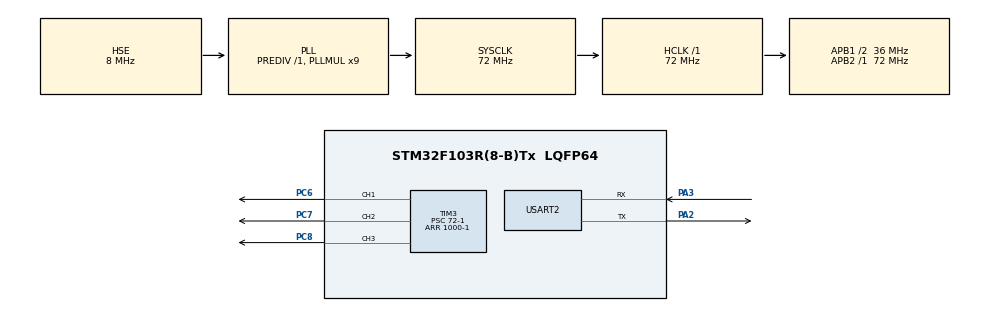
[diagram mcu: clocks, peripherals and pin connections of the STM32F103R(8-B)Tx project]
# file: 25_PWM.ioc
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Mcu.Family=STM32F1
Mcu.Name=STM32F103R(8-B)Tx
Mcu.Package=LQFP64
NVIC.PriorityGroup=NVIC_PRIORITYGROUP_4
PA2.Mode=Asynchronous
PA2.Signal=USART2_TX
PA3.Mode=Asynchronous
PA3.Signal=USART2_RX
PC14-OSC32_IN.Mode=LSE-External-Oscillator
PC14-OSC32_IN.Signal=RCC_OSC32_IN
PC15-OSC32_OUT.Mode=LSE-External-Oscillator
PC15-OSC32_OUT.Signal=RCC_OSC32_OUT
PC6.Signal=S_TIM3_CH1
PC7.Signal=S_TIM3_CH2
PC8.Signal=S_TIM3_CH3
PD0-OSC_IN.Mode=HSE-External-Clock-Source
PD0-OSC_IN.Signal=RCC_OSC_IN
PD1-OSC_OUT.Mode=HSE-External-Clock-Source
PD1-OSC_OUT.Signal=RCC_OSC_OUT
ProjectManager.HeapSize=0x200
ProjectManager.StackSize=0x400
ProjectManager.TargetToolchain=STM32CubeIDE
RCC.AHBFreq_Value=72000000
RCC.APB1CLKDivider=RCC_HCLK_DIV2
RCC.APB1Freq_Value=36000000
RCC.APB1TimFreq_Value=72000000
RCC.APB2Freq_Value=72000000
RCC.APB2TimFreq_Value=72000000
RCC.HCLKFreq_Value=72000000
RCC.PLLMUL=RCC_PLL_MUL9
RCC.PLLSourceVirtual=RCC_PLLSOURCE_HSE
RCC.SYSCLKFreq_VALUE=72000000
RCC.SYSCLKSource=RCC_SYSCLKSOURCE_PLLCLK
RCC.USBFreq_Value=72000000
SH.S_TIM3_CH1.0=TIM3_CH1,PWM Generation1 CH1
SH.S_TIM3_CH2.0=TIM3_CH2,PWM Generation2 CH2
SH.S_TIM3_CH3.0=TIM3_CH3,PWM Generation3 CH3
TIM3.AutoReloadPreload=TIM_AUTORELOAD_PRELOAD_ENABLE
TIM3.Channel-PWM\ Generation1\ CH1=TIM_CHANNEL_1
TIM3.Channel-PWM\ Generation2\ CH2=TIM_CHANNEL_2
TIM3.Channel-PWM\ Generation3\ CH3=TIM_CHANNEL_3
TIM3.Period=1000-1
TIM3.Prescaler=72-1
TIM3.Pulse-PWM\ Generation1\ CH1=500
USART2.VirtualMode=VM_ASYNC
VP_TIM3_VS_ClockSourceINT.Mode=Internal
board=custom

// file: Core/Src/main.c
/* USER CODE BEGIN Header */
/**
  ******************************************************************************
  * @file           : main.c
  * @brief          : Main program body
  ******************************************************************************
  * @attention
  *
  * Copyright (c) 2023 STMicroelectronics.
  * All rights reserved.
  *
  * This software is licensed under terms that can be found in the LICENSE file
  * in the root directory of this software component.
  * If no LICENSE file comes with this software, it is provided AS-IS.
  *
  ******************************************************************************
  */
/* USER CODE END Header */
#include "main.h"

/* USER CODE BEGIN Includes */
#include <stdio.h>
/* USER CODE END Includes */

TIM_HandleTypeDef htim3;

UART_HandleTypeDef huart2;

/* USER CODE BEGIN PV */
uint16_t input_arr, input_ccr1;
/* USER CODE END PV */

void SystemClock_Config(void);
static void MX_GPIO_Init(void);
static void MX_TIM3_Init(void);
static void MX_USART2_UART_Init(void);

/* USER CODE BEGIN 0 */
int __io_putchar(int ch) {
	   HAL_UART_Transmit(&huart2, (uint8_t *)&ch, 1, 1000);
	   if (ch == '\n') {
	      HAL_UART_Transmit(&huart2, (uint8_t *)"\r", 1, 1000);
	   }
	   return ch;
	}

int __io_getchar(void) {
   uint8_t ch = 0;
   __HAL_UART_CLEAR_OREFLAG(&huart2);
   HAL_UART_Receive(&huart2, (uint8_t *)&ch, 1, 0xFFFF);
   HAL_UART_Transmit(&huart2, (uint8_t *)&ch, 1, 1000);
   return ch;
}

/* USER CODE END 0 */

int main(void)
{

  /* MCU Configuration--------------------------------------------------------*/

  /* Reset of all peripherals, Initializes the Flash interface and the Systick. */
  HAL_Init();

  /* Configure the system clock */
  SystemClock_Config();

  /* Initialize all configured peripherals */
  MX_GPIO_Init();
  MX_TIM3_Init();
  MX_USART2_UART_Init();
  /* USER CODE BEGIN 2 */
  HAL_TIM_PWM_Start(&htim3, TIM_CHANNEL_1);
  setvbuf(stdin, NULL, _IONBF, 0); //버퍼링하는 정책 사용 금지

  /* USER CODE END 2 */

  /* Infinite loop */
  /* USER CODE BEGIN WHILE */
  while (1)
  {
#if 0
	  for(int i = 0; i < 1000; i+=10){
		  __HAL_TIM_SET_COMPARE(&htim3, TIM_CHANNEL_1, i);
		  HAL_Delay(100);
	  }

	  for(int j = 1000; j > 0; j-=10){
		  __HAL_TIM_SET_COMPARE(&htim3, TIM_CHANNEL_1, j);
		  HAL_Delay(100);
	  }
#endif

#if 1
	  printf("ARR & CCR1 VALUE = ");
	  scanf("%d %d", &input_arr, &input_ccr1);
	  printf("\n\n");
	  __HAL_TIM_SET_AUTORELOAD(&htim3, input_arr);
	  __HAL_TIM_SET_COMPARE(&htim3, TIM_CHANNEL_1, input_ccr1);
#endif
    /* USER CODE END WHILE */

  }
}

void SystemClock_Config(void)
{
  RCC_OscInitTypeDef RCC_OscInitStruct = {0};
  RCC_ClkInitTypeDef RCC_ClkInitStruct = {0};

  /** Initializes the RCC Oscillators according to the specified parameters
  * in the RCC_OscInitTypeDef structure.
  */
  RCC_OscInitStruct.OscillatorType = RCC_OSCILLATORTYPE_HSE;
  RCC_OscInitStruct.HSEState = RCC_HSE_BYPASS;
  RCC_OscInitStruct.HSEPredivValue = RCC_HSE_PREDIV_DIV1;
  RCC_OscInitStruct.HSIState = RCC_HSI_ON;
  RCC_OscInitStruct.PLL.PLLState = RCC_PLL_ON;
  RCC_OscInitStruct.PLL.PLLSource = RCC_PLLSOURCE_HSE;
  RCC_OscInitStruct.PLL.PLLMUL = RCC_PLL_MUL9;
  if (HAL_RCC_OscConfig(&RCC_OscInitStruct) != HAL_OK)
  {
    Error_Handler();
  }

  /** Initializes the CPU, AHB and APB buses clocks
  */
  RCC_ClkInitStruct.ClockType = RCC_CLOCKTYPE_HCLK|RCC_CLOCKTYPE_SYSCLK
                              |RCC_CLOCKTYPE_PCLK1|RCC_CLOCKTYPE_PCLK2;
  RCC_ClkInitStruct.SYSCLKSource = RCC_SYSCLKSOURCE_PLLCLK;
  RCC_ClkInitStruct.AHBCLKDivider = RCC_SYSCLK_DIV1;
  RCC_ClkInitStruct.APB1CLKDivider = RCC_HCLK_DIV2;
  RCC_ClkInitStruct.APB2CLKDivider = RCC_HCLK_DIV1;

  if (HAL_RCC_ClockConfig(&RCC_ClkInitStruct, FLASH_LATENCY_2) != HAL_OK)
  {
    Error_Handler();
  }
}

static void MX_TIM3_Init(void)
{

  TIM_ClockConfigTypeDef sClockSourceConfig = {0};
  TIM_MasterConfigTypeDef sMasterConfig = {0};
  TIM_OC_InitTypeDef sConfigOC = {0};

  htim3.Instance = TIM3;
  htim3.Init.Prescaler = 72-1;
  htim3.Init.CounterMode = TIM_COUNTERMODE_UP;
  htim3.Init.Period = 1000-1;
  htim3.Init.ClockDivision = TIM_CLOCKDIVISION_DIV1;
  htim3.Init.AutoReloadPreload = TIM_AUTORELOAD_PRELOAD_ENABLE;
  if (HAL_TIM_Base_Init(&htim3) != HAL_OK)
  {
    Error_Handler();
  }
  sClockSourceConfig.ClockSource = TIM_CLOCKSOURCE_INTERNAL;
  if (HAL_TIM_ConfigClockSource(&htim3, &sClockSourceConfig) != HAL_OK)
  {
    Error_Handler();
  }
  if (HAL_TIM_PWM_Init(&htim3) != HAL_OK)
  {
    Error_Handler();
  }
  sMasterConfig.MasterOutputTrigger = TIM_TRGO_RESET;
  sMasterConfig.MasterSlaveMode = TIM_MASTERSLAVEMODE_DISABLE;
  if (HAL_TIMEx_MasterConfigSynchronization(&htim3, &sMasterConfig) != HAL_OK)
  {
    Error_Handler();
  }
  sConfigOC.OCMode = TIM_OCMODE_PWM1;
  sConfigOC.Pulse = 500;
  sConfigOC.OCPolarity = TIM_OCPOLARITY_HIGH;
  sConfigOC.OCFastMode = TIM_OCFAST_DISABLE;
  if (HAL_TIM_PWM_ConfigChannel(&htim3, &sConfigOC, TIM_CHANNEL_1) != HAL_OK)
  {
    Error_Handler();
  }
  sConfigOC.Pulse = 0;
  if (HAL_TIM_PWM_ConfigChannel(&htim3, &sConfigOC, TIM_CHANNEL_2) != HAL_OK)
  {
    Error_Handler();
  }
  if (HAL_TIM_PWM_ConfigChannel(&htim3, &sConfigOC, TIM_CHANNEL_3) != HAL_OK)
  {
    Error_Handler();
  }
  HAL_TIM_MspPostInit(&htim3);

}

static void MX_USART2_UART_Init(void)
{

  huart2.Instance = USART2;
  huart2.Init.BaudRate = 115200;
  huart2.Init.WordLength = UART_WORDLENGTH_8B;
  huart2.Init.StopBits = UART_STOPBITS_1;
  huart2.Init.Parity = UART_PARITY_NONE;
  huart2.Init.Mode = UART_MODE_TX_RX;
  huart2.Init.HwFlowCtl = UART_HWCONTROL_NONE;
  huart2.Init.OverSampling = UART_OVERSAMPLING_16;
  if (HAL_UART_Init(&huart2) != HAL_OK)
  {
    Error_Handler();
  }

}

static void MX_GPIO_Init(void)
{

  /* GPIO Ports Clock Enable */
  __HAL_RCC_GPIOC_CLK_ENABLE();
  __HAL_RCC_GPIOD_CLK_ENABLE();
  __HAL_RCC_GPIOA_CLK_ENABLE();

}

void Error_Handler(void)
{
  __disable_irq();
  while (1)
  {
  }
}
